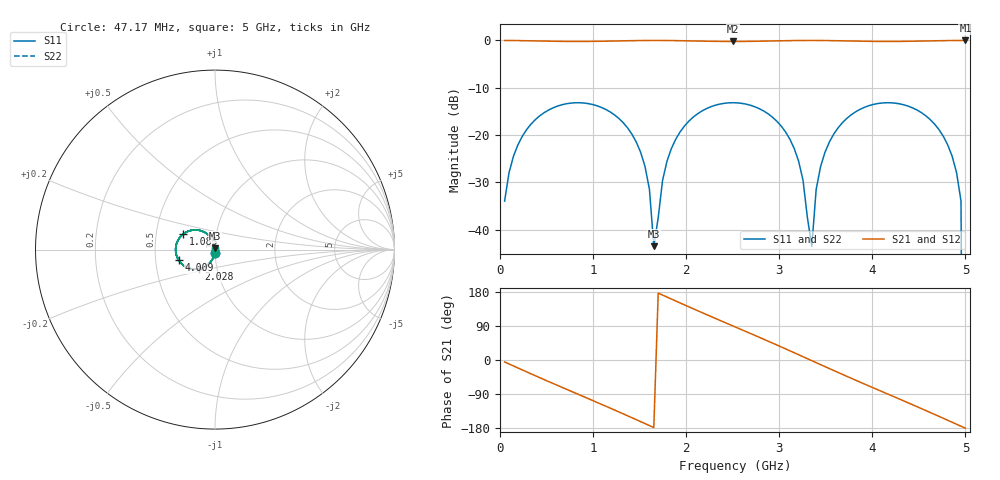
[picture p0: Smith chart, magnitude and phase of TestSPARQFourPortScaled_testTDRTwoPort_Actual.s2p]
# MHz MA S R 50.0
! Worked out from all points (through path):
!   106 points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, 47.17 MHz to 5 GHz, reference 50 ohm
!   highest |S21| = 0.00 dB at 5 GHz (marker M1); lowest = -0.2 dB at 2.5 GHz (marker M2)
!   group delay of S21, straight-line fit = 300 ps
!   lowest |S11| = -43.5 dB at 1.651 GHz (marker M3), VSWR 1.01, Z = 50 + j0.666 ohm
!   |S11| at or under -10 dB: start of sweep to end of sweep
!   |S22| runs from - to -13.2 dB; largest |S21 - S12| = 0
!   S11 on the Smith chart (normalised r, x): 47.17 MHz: 1.00, -0.04; 1.085 GHz: 0.69, +0.13; 2.028 GHz: 0.82, -0.18; 4.009 GHz: 0.66, -0.08; 5 GHz: 1.00, +0.00
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47.16981  0.01997 -95.2  0.9998 -5.2  0.9998 -5.2  0.01997 -95.2
330.1887  0.1301 -126.3  0.9915 -36.3  0.9915 -36.3  0.1301 -126.3
896.2264  0.218 173.4  0.9759 -96.6  0.9759 -96.6  0.218 173.4
1084.906  0.1963 153.4  0.9805 -116.6  0.9805 -116.6  0.1963 153.4
1509.434  0.06557 107.4  0.9978 -162.6  0.9978 -162.6  0.06557 107.4
1603.774  0.0266 97.0  0.9996 -173.0  0.9996 -173.0  0.0266 97.0
1650.943  0.006667 91.7  1 -178.3  1 -178.3  0.006667 91.7
1698.113  0.01333 -93.5  0.9999 176.5  0.9999 176.5  0.01333 -93.5
1792.453  0.05278 -103.9  0.9986 166.1  0.9986 166.1  0.05278 -103.9
2028.302  0.1404 -129.8  0.9901 140.2  0.9901 140.2  0.1404 -129.8
2500  0.2195 -180.0  0.9756 90.0  0.9756 90.0  0.2195 -180.0
2547.17  0.2187 175.0  0.9758 85.0  0.9758 85.0  0.2187 175.0
3113.208  0.09033 114.3  0.9959 24.3  0.9959 24.3  0.09033 114.3
3349.057  0.006667 -91.7  1 -1.7  1 -1.7  0.006667 -91.7
3396.226  0.0266 -97.0  0.9996 -7.0  0.9996 -7.0  0.0266 -97.0
3584.906  0.1022 -117.7  0.9948 -27.7  0.9948 -27.7  0.1022 -117.7
4009.434  0.2104 -163.4  0.9776 -73.4  0.9776 -73.4  0.2104 -163.4
4198.113  0.2191 176.7  0.9757 -93.3  0.9757 -93.3  0.2191 176.7
4669.811  0.1301 126.3  0.9915 -143.7  0.9915 -143.7  0.1301 126.3
4905.66  0.03977 100.4  0.9992 -169.6  0.9992 -169.6  0.03977 100.4
4952.83  0.01997 95.2  0.9998 -174.8  0.9998 -174.8  0.01997 95.2
5000  0 90.0  1 -180.0  1 -180.0  0 90.0
